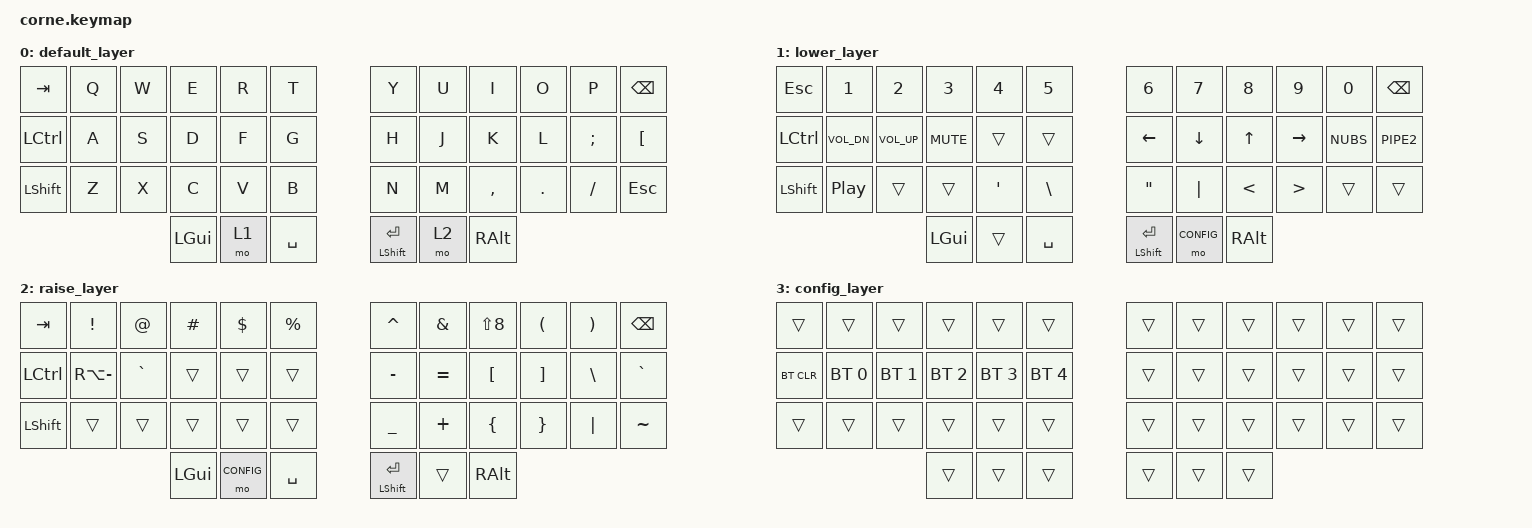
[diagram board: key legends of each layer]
/*
 * Copyright (c) 2020 The ZMK Contributors
 *
 * SPDX-License-Identifier: MIT
 */

#include <behaviors.dtsi>
#include <dt-bindings/zmk/keys.h>
#include <dt-bindings/zmk/bt.h>
#define CONFIG 3


/ {
        keymap {
                compatible = "zmk,keymap";

                default_layer {
// -----------------------------------------------------------------------------------------
// |  TAB |  Q  |  W  |  E  |  R  |  T  |   |  Y  |  U   |  I  |  O  |  P  | BKSP |
// | CTRL |  A  |  S  |  D  |  F  |  G  |   |  H  |  J   |  K  |  L  |  ;  |  '   |
// | SHFT |  Z  |  X  |  C  |  V  |  B  |   |  N  |  M   |  ,  |  .  |  /  | ESC  |
//                    | GUI | LWR | SPC |   | SHF/ENT | RSE  | ALT |
                        bindings = <
   &kp TAB   &kp Q &kp W &kp E &kp R &kp T   &kp Y &kp U  &kp I     &kp O   &kp P    &kp BSPC
   &kp LCTRL &kp A &kp S &kp D &kp F &kp G   &kp H &kp J  &kp K     &kp L   &kp SEMI &kp LBKT
   &kp LSHFT &kp Z &kp X &kp C &kp V &kp B   &kp N &kp M  &kp COMMA &kp DOT &kp FSLH &kp ESC
                  &kp LGUI &mo 1 &kp SPACE   &mt LSHFT RET &mo 2 &kp RALT
                        >;
                };
                lower_layer {
// -----------------------------------------------------------------------------------------
// |  ESC |  1  |  2  |  3  |  4  |  5  |   |  6  |  7  |  8  |  9  |  0  | BKSP |
// | BTCLR| VolUP | VolDW | Mute |     |     |   | LFT | DWN |  UP | RGT |  <  |   >  |
// | SHFT | Play |    |     |  {  |  } |   |  [ |  ]  |  ;  |  :  |     |      |
//                    | GUI |     | SPC |   | SHF/ENT |     | ALT |
                        bindings = <
   &kp ESC &kp N1 &kp N2 &kp N3 &kp N4 &kp N5                          &kp N6   &kp N7   &kp N8 &kp N9    &kp N0 &kp BSPC
   &kp LCTRL &kp C_VOL_DN &kp C_VOL_UP &kp C_MUTE &trans &trans        &kp LEFT &kp DOWN &kp UP &kp RIGHT &kp NUBS &kp PIPE2
   &kp LSHFT  &kp C_PP  &trans &trans &kp SQT &kp BSLH                 &kp DQT &kp PIPE &kp LT &kp GT &trans &trans
                                    &kp LGUI     &trans                &kp SPACE      &mt LSHFT RET  &mo CONFIG   &kp RALT
                        >;
                };
                raise_layer {
// -----------------------------------------------------------------------------------------
// |  TAB |  !  |  @  |  #  |  $  |  %  |   |  ^  |  &  |  *  |  (  |  )  | BKSP |
// | CTRL |  \  |  |  |     |     |     |   |  -  |  =  |  [  |  ]  |  \  |  `   |
// | SHFT |     |     |     |     |     |   |  _  |  +  |  {  |  }  | "|" |  ~   |
//                    | GUI |     | SPC |   | SHF/ENT |     | ALT |
                        bindings = <
   &kp  TAB  &kp EXCL &kp AT &kp HASH &kp DLLR &kp PRCNT            &kp CARET &kp AMPS  &kp LS(N8) &kp LPAR &kp RPAR &kp BSPC
   &kp LCTRL &kp RA(MINUS) &kp GRAVE &trans   &trans   &trans       &kp MINUS &kp EQUAL &kp LBKT &kp RBKT &kp BSLH &kp GRAVE
   &kp LSHFT &trans   &trans &trans   &trans   &trans               &kp UNDER &kp PLUS  &kp LBRC        &kp RBRC &kp PIPE &kp TILDE
                             &kp LGUI &mo CONFIG &kp SPACE          &mt LSHFT RET   &trans    &kp RALT
                        >;
                };
                config_layer {
// -----------------------------------------------------------------------------------------
// |  TAB |  !  |  @  |  #  |  $  |  %  |   |  ^  |  &  |  *  |  (  |  )  | BKSP |
// | CTRL |  \  |  |  |     |     |     |   |  -  |  =  |  [  |  ]  |  \  |  `   |
// | SHFT |     |     |     |     |     |   |  _  |  +  |  {  |  }  | "|" |  ~   |
//                    | GUI |     | SPC |   | SHF/ENT |     | ALT |
                        bindings = <
   &trans &trans &trans &trans &trans &trans                                      &trans &trans &trans &trans &trans &trans 
   &bt BT_CLR &bt BT_SEL 0 &bt BT_SEL 1 &bt BT_SEL 2 &bt BT_SEL 3 &bt BT_SEL 4    &trans &trans &trans &trans &trans &trans 
   &trans &trans   &trans &trans   &trans   &trans                                &trans &trans &trans &trans &trans &trans 
                             &trans &trans   &trans                               &trans  &trans    &trans
                        >;
                };
        };
};
